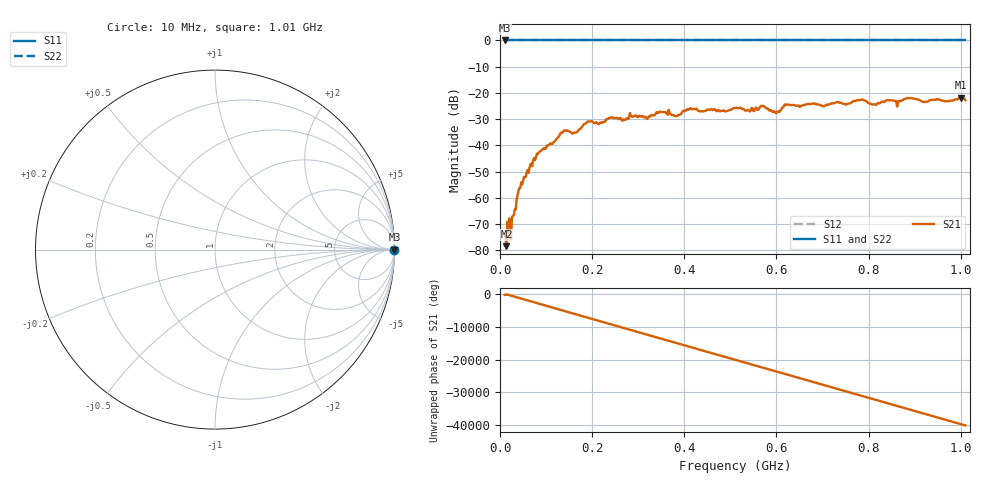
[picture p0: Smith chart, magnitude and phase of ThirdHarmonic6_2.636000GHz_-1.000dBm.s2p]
! 8/17/2025 5:55:39 AM
! C:\ANRITSUVNA\TEMP\TEMP.S2P
! CHANNEL.1
! TR.MEASUREMENT
! RAW.DATA
! RF.CORRECTION.OFF
! AVERAGING.OFF
! IF.BANDWIDTH: 5KHZ
! SWEEPTYPE:  FREQ.SWEEP(Linear)
! Reference Plane Port Info
! PORT:  PORT1  PORT2
! DISTANCE:  0  m  0  m
! TIME:  0  s  0  s
! PHASE.OFFSET:  0  deg.  0  deg.
! LOSS:  0  dB  0  dB
! REF.LOSS:  0  dB  0  dB
! REF.FREQ:  0  Hz  0  Hz
! Power Info
! POWER:  -20  dBm  -20  dBm
! EFF.POWER:  -20  dBm  -20  dBm
! SOURCE.ATTEN:  0  dB  0  dB
! TEST.ATTEN:  0  dB  0  dB
# GHZ S RI R 50.0
! FREQ.GHZ  S11RE  S11IM  S21RE  S21IM  S12RE  S12IM  S22RE  S22IM
!; PortSelection: Port_12
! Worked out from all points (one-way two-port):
!   501 points, 10 MHz to 1.01 GHz, reference 50 ohm
!   highest |S21| = -21.82 dB at 1 GHz (marker M1); lowest = -78.4 dB at 14 MHz (marker M2)
!   lowest |S11| = 0.0 dB at 10 MHz (marker M3)
!   |S11| at or under -10 dB: nowhere
!   |S22| runs from 0.0 to 0.0 dB; largest |S21 - S12| = 1.1
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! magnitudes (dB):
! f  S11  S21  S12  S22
! 10 MHz  0.0  -73.6  0.0  0.0
! 14 MHz  0.0  -78.4  0.0  0.0
! 26 MHz  0.0  -67.2  0.0  0.0
! 42 MHz  0.0  -56.2  0.0  0.0
! 82 MHz  0.0  -43.3  0.0  0.0
! 136 MHz  0.0  -35.0  0.0  0.0
! 162 MHz  0.0  -35.1  0.0  0.0
! 178 MHz  0.0  -32.8  0.0  0.0
! 194 MHz  0.0  -30.9  0.0  0.0
! 322 MHz  0.0  -29.1  0.0  0.0
! 344 MHz  0.0  -27.6  0.0  0.0
! 382 MHz  0.0  -28.8  0.0  0.0
! 410 MHz  0.0  -26.3  0.0  0.0
! 510 MHz  0.0  -25.7  0.0  0.0
! 570 MHz  0.0  -25.0  0.0  0.0
! 602 MHz  0.0  -27.1  0.0  0.0
! 622 MHz  0.0  -24.5  0.0  0.0
! 678 MHz  0.0  -24.1  0.0  0.0
! 812 MHz  0.0  -24.3  0.0  0.0
! 844 MHz  0.0  -22.8  0.0  0.0
! 1 GHz  0.0  -21.8  0.0  0.0
! 1.01 GHz  0.0  -22.8  0.0  0.0
